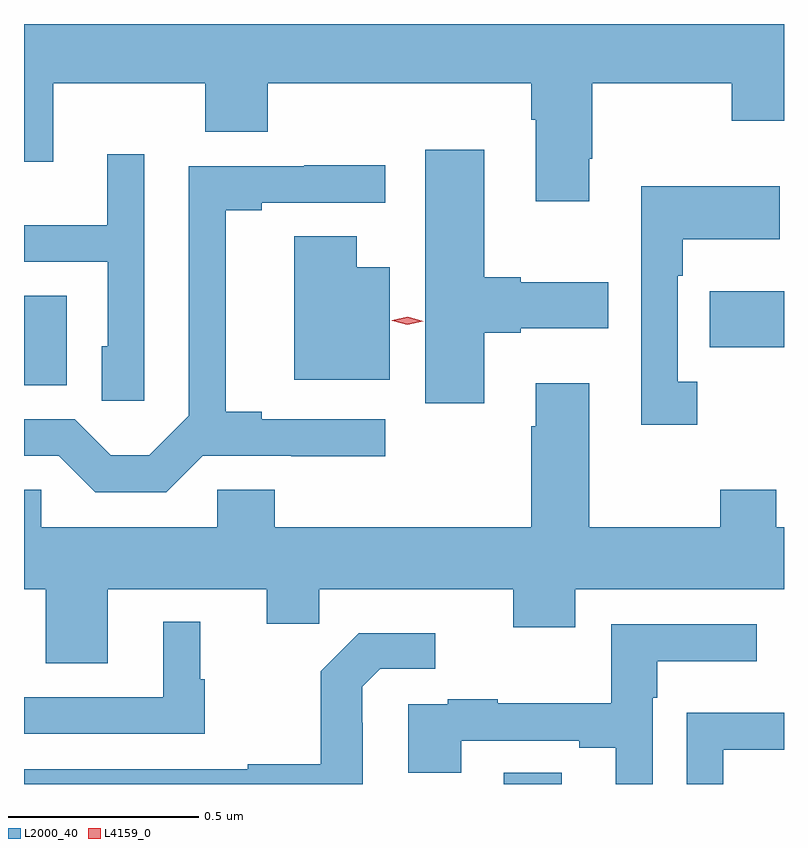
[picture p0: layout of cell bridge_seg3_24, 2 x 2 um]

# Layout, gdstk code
import gdstk
lib = gdstk.Library(unit=1e-6, precision=1e-09)
def R(c, l, rs):  # rectangles x0, y0, x1, y1
    for r in rs: c.add(gdstk.rectangle(r[:2], r[2:], *l))
def P(c, l, *ps):  # polygons
    for p in ps: c.add(gdstk.Polygon(p, *l))
L2000_40 = (2000, 40)
L4159_0 = (4159, 0)

bridge_seg3_24 = lib.new_cell('bridge_seg3_24')
R(bridge_seg3_24, L2000_40, [(723.233,740.364,723.385,740.393), (721.97,741.413,722.083,741.649), (723.775,741.514,723.97,741.661)])
P(bridge_seg3_24, L2000_40, [(723.457,742.009),(723.465,742.009),(723.465,742.208),(723.832,742.208),(723.832,742.109),(723.97,742.109),(723.97,742.364),(721.97,742.364),(721.97,742.002),(722.047,742.002),(722.047,742.208),(722.447,742.208),(722.447,742.08),(722.611,742.08),(722.611,742.208),(723.305,742.208),(723.305,742.112),(723.317,742.112),(723.317,741.897),(723.457,741.897)],
  [(723.181,741.551),(723.277,741.551),(723.277,741.563),(723.508,741.563),(723.508,741.685),(723.277,741.685),(723.277,741.698),(723.181,741.698),(723.181,742.033),(723.026,742.033),(723.026,741.366),(723.181,741.366)],
  [(722.286,742.021),(722.189,742.021),(722.189,741.835),(721.97,741.835),(721.97,741.738),(722.19,741.738),(722.19,741.516),(722.174,741.516),(722.174,741.373),(722.286,741.373)],
  [(722.44,741.228),(722.673,741.228),(722.673,741.227),(722.92,741.227),(722.92,741.324),(722.596,741.324),(722.596,741.344),(722.501,741.344),(722.501,741.874),(722.596,741.874),(722.596,741.894),(722.92,741.894),(722.92,741.992),(722.707,741.992),(722.707,741.99),(722.403,741.99),(722.403,741.333),(722.299,741.229),(722.198,741.229),(722.103,741.324),(721.97,741.324),(721.97,741.228),(722.061,741.228),(722.157,741.132),(722.344,741.132)],
  [(723.742,741.422),(723.69,741.422),(723.69,741.701),(723.703,741.701),(723.703,741.797),(723.959,741.797),(723.959,741.937),(723.594,741.937),(723.594,741.309),(723.742,741.309)],
  [(722.932,741.724),(722.845,741.724),(722.845,741.805),(722.681,741.805),(722.681,741.428),(722.932,741.428)],
  [(722.191,740.876),(722.609,740.876),(722.609,740.786),(722.747,740.786),(722.747,740.876),(723.257,740.876),(723.257,740.777),(723.421,740.777),(723.421,740.876),(723.97,740.876),(723.97,741.04),(723.949,741.04),(723.949,741.139),(723.802,741.139),(723.802,741.04),(723.457,741.04),(723.457,741.418),(723.317,741.418),(723.317,741.305),(723.305,741.305),(723.305,741.04),(722.63,741.04),(722.63,741.138),(722.478,741.138),(722.478,741.04),(722.016,741.04),(722.016,741.138),(721.97,741.138),(721.97,740.876),(722.027,740.876),(722.027,740.682),(722.191,740.682)],
  [(722.446,740.64),(722.434,740.64),(722.434,740.791),(722.336,740.791),(722.336,740.592),(721.97,740.592),(721.97,740.496),(722.446,740.496)],
  [(723.624,740.591),(723.637,740.591),(723.637,740.687),(723.898,740.687),(723.898,740.784),(723.516,740.784),(723.516,740.576),(723.217,740.576),(723.217,740.587),(723.085,740.587),(723.085,740.574),(722.981,740.574),(722.981,740.394),(723.121,740.394),(723.121,740.478),(723.431,740.478),(723.431,740.46),(723.527,740.46),(723.527,740.364),(723.624,740.364)],
  [(722.862,740.525),(722.86,740.525),(722.86,740.62),(722.907,740.667),(723.052,740.667),(723.052,740.761),(722.851,740.761),(722.751,740.661),(722.751,740.416),(722.559,740.416),(722.559,740.403),(721.97,740.403),(721.97,740.364),(722.862,740.364)],
  [(723.81,740.454),(723.97,740.454),(723.97,740.551),(723.714,740.551),(723.714,740.364),(723.81,740.364)])
P(bridge_seg3_24, L4159_0, [(722.979,741.573),(722.939,741.583),(722.938,741.583),(722.939,741.584),(722.98,741.593),(723.02,741.582),(723.02,741.582),(723.02,741.582)])

lib.write_gds('bridge_seg3_24.gds')
